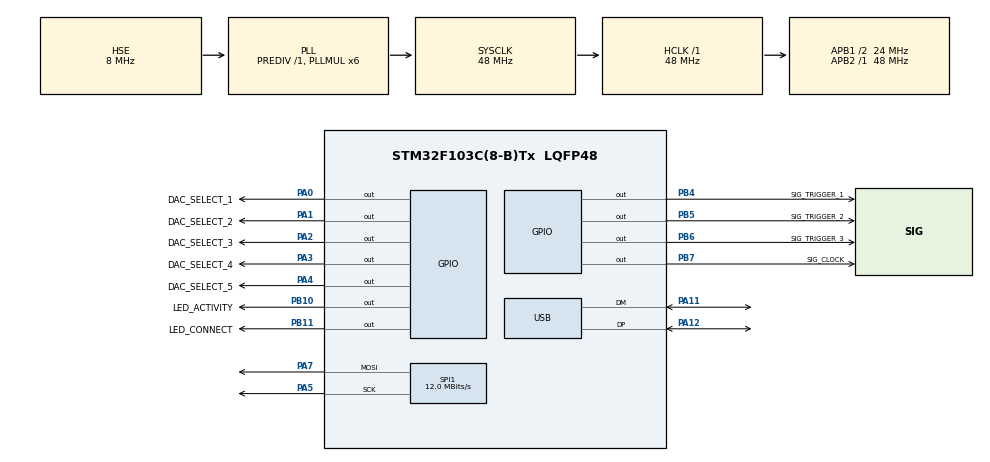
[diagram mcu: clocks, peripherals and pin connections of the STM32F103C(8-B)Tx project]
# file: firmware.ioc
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Mcu.Family=STM32F1
Mcu.Name=STM32F103C(8-B)Tx
Mcu.Package=LQFP48
NVIC.PriorityGroup=NVIC_PRIORITYGROUP_4
NVIC.TIM2_IRQn=true\:0\:0\:false\:false\:true\:true\:true
NVIC.USB_LP_CAN1_RX0_IRQn=true\:0\:0\:false\:false\:true\:false\:true
PA0-WKUP.GPIO_Label=DAC_SELECT_1
PA0-WKUP.GPIO_PuPd=GPIO_PULLUP
PA0-WKUP.PinState=GPIO_PIN_SET
PA0-WKUP.Signal=GPIO_Output
PA1.GPIO_Label=DAC_SELECT_2
PA1.GPIO_PuPd=GPIO_PULLUP
PA1.PinState=GPIO_PIN_SET
PA1.Signal=GPIO_Output
PA11.Mode=Device
PA11.Signal=USB_DM
PA12.Mode=Device
PA12.Signal=USB_DP
PA13.Mode=Serial_Wire
PA13.Signal=SYS_JTMS-SWDIO
PA14.Mode=Serial_Wire
PA14.Signal=SYS_JTCK-SWCLK
PA2.GPIO_Label=DAC_SELECT_3
PA2.GPIO_PuPd=GPIO_PULLUP
PA2.Signal=GPIO_Output
PA3.GPIO_Label=DAC_SELECT_4
PA3.GPIO_PuPd=GPIO_PULLUP
PA3.PinState=GPIO_PIN_SET
PA3.Signal=GPIO_Output
PA4.GPIO_Label=DAC_SELECT_5
PA4.GPIO_PuPd=GPIO_PULLUP
PA4.PinState=GPIO_PIN_SET
PA4.Signal=GPIO_Output
PA5.Mode=TX_Only_Simplex_Unidirect_Master
PA5.Signal=SPI1_SCK
PA7.Mode=TX_Only_Simplex_Unidirect_Master
PA7.Signal=SPI1_MOSI
PB10.GPIO_Label=LED_ACTIVITY
PB10.GPIO_PuPd=GPIO_PULLDOWN
PB10.Signal=GPIO_Output
PB11.GPIO_Label=LED_CONNECT
PB11.GPIO_PuPd=GPIO_PULLDOWN
PB11.Signal=GPIO_Output
PB4.GPIO_Label=SIG_TRIGGER_1
PB4.GPIO_PuPd=GPIO_PULLUP
PB4.PinState=GPIO_PIN_SET
PB4.Signal=GPIO_Output
PB5.GPIO_Label=SIG_TRIGGER_2
PB5.GPIO_PuPd=GPIO_PULLUP
PB5.PinState=GPIO_PIN_SET
PB5.Signal=GPIO_Output
PB6.GPIO_Label=SIG_TRIGGER_3
PB6.GPIO_PuPd=GPIO_PULLUP
PB6.PinState=GPIO_PIN_SET
PB6.Signal=GPIO_Output
PB7.GPIO_Label=SIG_CLOCK
PB7.GPIO_PuPd=GPIO_PULLUP
PB7.PinState=GPIO_PIN_SET
PB7.Signal=GPIO_Output
PD0-OSC_IN.Mode=HSE-External-Oscillator
PD0-OSC_IN.Signal=RCC_OSC_IN
PD1-OSC_OUT.Mode=HSE-External-Oscillator
PD1-OSC_OUT.Signal=RCC_OSC_OUT
ProjectManager.HeapSize=0x200
ProjectManager.StackSize=0x400
ProjectManager.TargetToolchain=SW4STM32
RCC.AHBFreq_Value=48000000
RCC.APB1CLKDivider=RCC_HCLK_DIV2
RCC.APB1Freq_Value=24000000
RCC.APB1TimFreq_Value=48000000
RCC.APB2Freq_Value=48000000
RCC.APB2TimFreq_Value=48000000
RCC.HCLKFreq_Value=48000000
RCC.PLLMUL=RCC_PLL_MUL6
RCC.SYSCLKFreq_VALUE=48000000
RCC.SYSCLKSource=RCC_SYSCLKSOURCE_PLLCLK
RCC.USBFreq_Value=48000000
SPI1.BaudRatePrescaler=SPI_BAUDRATEPRESCALER_4
SPI1.CalculateBaudRate=12.0 MBits/s
SPI1.Direction=SPI_DIRECTION_2LINES
SPI1.Mode=SPI_MODE_MASTER
SPI1.VirtualType=VM_MASTER
TIM2.Period=500
USB_DEVICE.CLASS_NAME_FS=CDC
USB_DEVICE.CONFIGURATION_STRING_CDC_FS=MIDI Config
USB_DEVICE.INTERFACE_STRING_CDC_FS=MIDI Interface
USB_DEVICE.MANUFACTURER_STRING=elektrophon
USB_DEVICE.PRODUCT_STRING_CDC_FS=kontakt
USB_DEVICE.VirtualMode=Cdc
USB_DEVICE.VirtualModeFS=Cdc_FS
VP_TIM2_VS_ClockSourceINT.Mode=Internal
VP_USB_DEVICE_VS_USB_DEVICE_CDC_FS.Mode=CDC_FS
board=custom

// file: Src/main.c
/* USER CODE BEGIN Header */
/**
  ******************************************************************************
  * @file           : main.c
  * @brief          : Main program body
  ******************************************************************************
  * @attention
  *
  * <h2><center>&copy; Copyright (c) 2019 STMicroelectronics.
  * All rights reserved.</center></h2>
  *
  * This software component is licensed by ST under Ultimate Liberty license
  * SLA0044, the "License"; You may not use this file except in compliance with
  * the License. You may obtain a copy of the License at:
  *                             www.st.com/SLA0044
  *
  ******************************************************************************
  */
/* USER CODE END Header */

#include "main.h"
#include "usb_device.h"

/* USER CODE BEGIN Includes */
#include "usbd_midi_if.h"
#include "midi.h"
/* USER CODE END Includes */

SPI_HandleTypeDef hspi1;

TIM_HandleTypeDef htim2;

/* USER CODE BEGIN PV */
extern USBD_HandleTypeDef hUsbDeviceFS;
/* USER CODE END PV */

void SystemClock_Config(void);
static void MX_GPIO_Init(void);
static void MX_SPI1_Init(void);
static void MX_TIM2_Init(void);

int main(void)
{

  /* MCU Configuration--------------------------------------------------------*/

  /* Reset of all peripherals, Initializes the Flash interface and the Systick. */
  HAL_Init();

  /* Configure the system clock */
  SystemClock_Config();

  /* Initialize all configured peripherals */
  MX_GPIO_Init();
  MX_SPI1_Init();
  MX_USB_DEVICE_Init();
  MX_TIM2_Init();
  /* USER CODE BEGIN 2 */
  mimuz_init();
  HAL_TIM_Base_Start_IT(&htim2);
  /* USER CODE END 2 */

  /* Infinite loop */
  /* USER CODE BEGIN WHILE */

  //Set all trigger timers to zero
  for( uint8_t i = 0; i < MIDI_CHANNELS; i++ ) {
	  trigger_timer[i] = 0;
  }

  //register the MIDI call backs
  setHdlNoteOff(note_off);
  setHdlNoteOn(note_on);

  while (1)
  {
	while (1)
	{
		if(USBD_STATE_CONFIGURED == hUsbDeviceFS.dev_state)
		{
			HAL_GPIO_WritePin(LED_CONNECT_GPIO_Port, LED_CONNECT_Pin, SET);
			break;
		} else
		{
			HAL_GPIO_WritePin(LED_CONNECT_GPIO_Port, LED_CONNECT_Pin, SET);
			HAL_Delay(200);
			HAL_GPIO_WritePin(LED_CONNECT_GPIO_Port, LED_CONNECT_Pin, RESET);
			HAL_Delay(200);
		}
	}
    /* USER CODE END WHILE */

    /* USER CODE BEGIN 3 */
	processMidiMessage();
	midi_process();
  }
  /* USER CODE END 3 */
}

void SystemClock_Config(void)
{
  RCC_OscInitTypeDef RCC_OscInitStruct = {0};
  RCC_ClkInitTypeDef RCC_ClkInitStruct = {0};
  RCC_PeriphCLKInitTypeDef PeriphClkInit = {0};

  /** Initializes the CPU, AHB and APB busses clocks
  */
  RCC_OscInitStruct.OscillatorType = RCC_OSCILLATORTYPE_HSE;
  RCC_OscInitStruct.HSEState = RCC_HSE_ON;
  RCC_OscInitStruct.HSEPredivValue = RCC_HSE_PREDIV_DIV1;
  RCC_OscInitStruct.HSIState = RCC_HSI_ON;
  RCC_OscInitStruct.PLL.PLLState = RCC_PLL_ON;
  RCC_OscInitStruct.PLL.PLLSource = RCC_PLLSOURCE_HSE;
  RCC_OscInitStruct.PLL.PLLMUL = RCC_PLL_MUL6;
  if (HAL_RCC_OscConfig(&RCC_OscInitStruct) != HAL_OK)
  {
    Error_Handler();
  }
  /** Initializes the CPU, AHB and APB busses clocks
  */
  RCC_ClkInitStruct.ClockType = RCC_CLOCKTYPE_HCLK|RCC_CLOCKTYPE_SYSCLK
                              |RCC_CLOCKTYPE_PCLK1|RCC_CLOCKTYPE_PCLK2;
  RCC_ClkInitStruct.SYSCLKSource = RCC_SYSCLKSOURCE_PLLCLK;
  RCC_ClkInitStruct.AHBCLKDivider = RCC_SYSCLK_DIV1;
  RCC_ClkInitStruct.APB1CLKDivider = RCC_HCLK_DIV2;
  RCC_ClkInitStruct.APB2CLKDivider = RCC_HCLK_DIV1;

  if (HAL_RCC_ClockConfig(&RCC_ClkInitStruct, FLASH_LATENCY_1) != HAL_OK)
  {
    Error_Handler();
  }
  PeriphClkInit.PeriphClockSelection = RCC_PERIPHCLK_USB;
  PeriphClkInit.UsbClockSelection = RCC_USBCLKSOURCE_PLL;
  if (HAL_RCCEx_PeriphCLKConfig(&PeriphClkInit) != HAL_OK)
  {
    Error_Handler();
  }
}

static void MX_SPI1_Init(void)
{

  /* SPI1 parameter configuration*/
  hspi1.Instance = SPI1;
  hspi1.Init.Mode = SPI_MODE_MASTER;
  hspi1.Init.Direction = SPI_DIRECTION_2LINES;
  hspi1.Init.DataSize = SPI_DATASIZE_8BIT;
  hspi1.Init.CLKPolarity = SPI_POLARITY_LOW;
  hspi1.Init.CLKPhase = SPI_PHASE_1EDGE;
  hspi1.Init.NSS = SPI_NSS_SOFT;
  hspi1.Init.BaudRatePrescaler = SPI_BAUDRATEPRESCALER_4;
  hspi1.Init.FirstBit = SPI_FIRSTBIT_MSB;
  hspi1.Init.TIMode = SPI_TIMODE_DISABLE;
  hspi1.Init.CRCCalculation = SPI_CRCCALCULATION_DISABLE;
  hspi1.Init.CRCPolynomial = 10;
  if (HAL_SPI_Init(&hspi1) != HAL_OK)
  {
    Error_Handler();
  }

}

static void MX_TIM2_Init(void)
{

  TIM_ClockConfigTypeDef sClockSourceConfig = {0};
  TIM_MasterConfigTypeDef sMasterConfig = {0};

  htim2.Instance = TIM2;
  htim2.Init.Prescaler = 0;
  htim2.Init.CounterMode = TIM_COUNTERMODE_UP;
  htim2.Init.Period = 500;
  htim2.Init.ClockDivision = TIM_CLOCKDIVISION_DIV1;
  htim2.Init.AutoReloadPreload = TIM_AUTORELOAD_PRELOAD_DISABLE;
  if (HAL_TIM_Base_Init(&htim2) != HAL_OK)
  {
    Error_Handler();
  }
  sClockSourceConfig.ClockSource = TIM_CLOCKSOURCE_INTERNAL;
  if (HAL_TIM_ConfigClockSource(&htim2, &sClockSourceConfig) != HAL_OK)
  {
    Error_Handler();
  }
  sMasterConfig.MasterOutputTrigger = TIM_TRGO_RESET;
  sMasterConfig.MasterSlaveMode = TIM_MASTERSLAVEMODE_DISABLE;
  if (HAL_TIMEx_MasterConfigSynchronization(&htim2, &sMasterConfig) != HAL_OK)
  {
    Error_Handler();
  }

}

static void MX_GPIO_Init(void)
{
  GPIO_InitTypeDef GPIO_InitStruct = {0};

  /* GPIO Ports Clock Enable */
  __HAL_RCC_GPIOD_CLK_ENABLE();
  __HAL_RCC_GPIOA_CLK_ENABLE();
  __HAL_RCC_GPIOB_CLK_ENABLE();

  /*Configure GPIO pin Output Level */
  HAL_GPIO_WritePin(GPIOA, DAC_SELECT_1_Pin|DAC_SELECT_2_Pin|DAC_SELECT_4_Pin|DAC_SELECT_5_Pin, GPIO_PIN_SET);

  /*Configure GPIO pin Output Level */
  HAL_GPIO_WritePin(DAC_SELECT_3_GPIO_Port, DAC_SELECT_3_Pin, GPIO_PIN_RESET);

  /*Configure GPIO pin Output Level */
  HAL_GPIO_WritePin(GPIOB, LED_ACTIVITY_Pin|LED_CONNECT_Pin, GPIO_PIN_RESET);

  /*Configure GPIO pin Output Level */
  HAL_GPIO_WritePin(GPIOB, SIG_TRIGGER_1_Pin|SIG_TRIGGER_2_Pin|SIG_TRIGGER_3_Pin|SIG_CLOCK_Pin, GPIO_PIN_SET);

  /*Configure GPIO pins : DAC_SELECT_1_Pin DAC_SELECT_2_Pin DAC_SELECT_3_Pin DAC_SELECT_4_Pin
                           DAC_SELECT_5_Pin */
  GPIO_InitStruct.Pin = DAC_SELECT_1_Pin|DAC_SELECT_2_Pin|DAC_SELECT_3_Pin|DAC_SELECT_4_Pin
                          |DAC_SELECT_5_Pin;
  GPIO_InitStruct.Mode = GPIO_MODE_OUTPUT_PP;
  GPIO_InitStruct.Pull = GPIO_PULLUP;
  GPIO_InitStruct.Speed = GPIO_SPEED_FREQ_LOW;
  HAL_GPIO_Init(GPIOA, &GPIO_InitStruct);

  /*Configure GPIO pins : LED_ACTIVITY_Pin LED_CONNECT_Pin */
  GPIO_InitStruct.Pin = LED_ACTIVITY_Pin|LED_CONNECT_Pin;
  GPIO_InitStruct.Mode = GPIO_MODE_OUTPUT_PP;
  GPIO_InitStruct.Pull = GPIO_PULLDOWN;
  GPIO_InitStruct.Speed = GPIO_SPEED_FREQ_LOW;
  HAL_GPIO_Init(GPIOB, &GPIO_InitStruct);

  /*Configure GPIO pins : SIG_TRIGGER_1_Pin SIG_TRIGGER_2_Pin SIG_TRIGGER_3_Pin SIG_CLOCK_Pin */
  GPIO_InitStruct.Pin = SIG_TRIGGER_1_Pin|SIG_TRIGGER_2_Pin|SIG_TRIGGER_3_Pin|SIG_CLOCK_Pin;
  GPIO_InitStruct.Mode = GPIO_MODE_OUTPUT_PP;
  GPIO_InitStruct.Pull = GPIO_PULLUP;
  GPIO_InitStruct.Speed = GPIO_SPEED_FREQ_LOW;
  HAL_GPIO_Init(GPIOB, &GPIO_InitStruct);

}

void Error_Handler(void)
{
}

/************************ (C) COPYRIGHT STMicroelectronics *****END OF FILE****/
